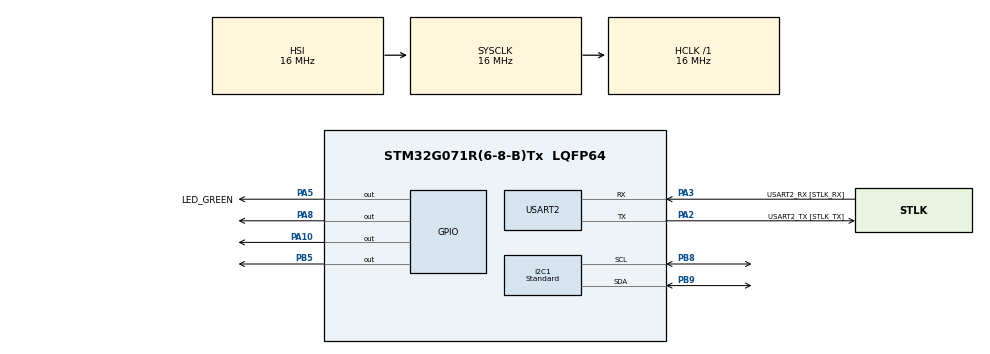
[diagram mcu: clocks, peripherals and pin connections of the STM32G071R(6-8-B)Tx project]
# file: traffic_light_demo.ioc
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I2C1.I2C_Fall_Time=0
I2C1.I2C_Rise_Time=0
I2C1.I2C_Speed_Mode=I2C_Standard
I2C1.OwnAddress=0x03
I2C1.Timing=0x00303D5B
Mcu.Family=STM32G0
Mcu.Name=STM32G071R(6-8-B)Tx
Mcu.Package=LQFP64
NVIC.I2C1_IRQn=true\:0\:0\:false\:false\:true\:true\:true\:true
NVIC.USART2_IRQn=true\:0\:0\:false\:false\:true\:true\:true\:true
PA10.Signal=GPIO_Output
PA13.GPIO_Label=TMS
PA13.Mode=Serial_Wire
PA13.Signal=SYS_SWDIO
PA14-BOOT0.GPIO_Label=TCK
PA14-BOOT0.Mode=Serial_Wire
PA14-BOOT0.Signal=SYS_SWCLK
PA2.GPIO_Label=USART2_TX [STLK_TX]
PA2.GPIO_PuPd=GPIO_PULLUP
PA2.Mode=Asynchronous
PA2.Signal=USART2_TX
PA3.GPIO_Label=USART2_RX [STLK_RX]
PA3.GPIO_PuPd=GPIO_PULLUP
PA3.Mode=Asynchronous
PA3.Signal=USART2_RX
PA5.GPIO_Label=LED_GREEN
PA5.GPIO_Speed=GPIO_SPEED_FREQ_HIGH
PA5.Signal=GPIO_Output
PA8.Signal=GPIO_Output
PB5.Signal=GPIO_Output
PB8.Mode=I2C
PB8.Signal=I2C1_SCL
PB9.Mode=I2C
PB9.Signal=I2C1_SDA
PC14-OSC32_IN\ (PC14).Mode=LSE-External-Oscillator
PC14-OSC32_IN\ (PC14).Signal=RCC_OSC32_IN
PC15-OSC32_OUT\ (PC15).Mode=LSE-External-Oscillator
PC15-OSC32_OUT\ (PC15).Signal=RCC_OSC32_OUT
PF0-OSC_IN\ (PF0).GPIO_Label=MCO
PF0-OSC_IN\ (PF0).Mode=HSE-External-Clock-Source
PF0-OSC_IN\ (PF0).Signal=RCC_OSC_IN
ProjectManager.HeapSize=0x200
ProjectManager.StackSize=0x400
ProjectManager.TargetToolchain=STM32CubeIDE
RCC.AHBFreq_Value=16000000
RCC.CortexFreq_Value=16000000
RCC.EXTERNAL_CLOCK_VALUE=12288000
RCC.HCLKFreq_Value=16000000
RCC.HSE_VALUE=8000000
RCC.HSI_VALUE=16000000
RCC.SYSCLKFreq_VALUE=16000000
RCC.VCOOutputFreq_Value=128000000
USART2.VirtualMode-Asynchronous=VM_ASYNC
board=NUCLEO-G071RB

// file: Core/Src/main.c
/* USER CODE BEGIN Header */
/**
  ******************************************************************************
  * @file           : main.c
  * @brief          : Main program body
  ******************************************************************************
  * @attention
  *
  * Copyright (c) 2024 STMicroelectronics.
  * All rights reserved.
  *
  * This software is licensed under terms that can be found in the LICENSE file
  * in the root directory of this software component.
  * If no LICENSE file comes with this software, it is provided AS-IS.
  *
  ******************************************************************************
  */
/* USER CODE END Header */
#include "main.h"

/* USER CODE BEGIN PTD */
typedef enum {
    RED, 	//D7
    GREEN, 	//D2
    YELLOW	//D4
} TrafficLightState;
TrafficLightState currentState = RED;
uint8_t interruptCount = 0;
/* USER CODE END PTD */

I2C_HandleTypeDef hi2c1;

UART_HandleTypeDef huart2;

void SystemClock_Config(void);
static void MX_GPIO_Init(void);
static void MX_USART2_UART_Init(void);
static void MX_I2C1_Init(void);
/* USER CODE BEGIN PFP */
void HAL_GPIO_EXTI_Callback(uint16_t GPIO_Pin);
void setTrafficLightState(TrafficLightState state);
void USART_Transmit(const char* str); // Declare the USART transmit function
/* USER CODE END PFP */

/* USER CODE BEGIN 0 */
unsigned char data[10];
static uint8_t previousData[6] = {0}; // Adjust size as needed

/* USER CODE END 0 */

int main(void)
{

  /* MCU Configuration--------------------------------------------------------*/

  /* Reset of all peripherals, Initializes the Flash interface and the Systick. */
  HAL_Init();

  /* Configure the system clock */
  SystemClock_Config();

  /* Initialize all configured peripherals */
  MX_GPIO_Init();
  MX_USART2_UART_Init();
  MX_I2C1_Init();
  /* USER CODE BEGIN 2 */
    setTrafficLightState(RED); // Start with red light
    HAL_I2C_EnableListen_IT(&hi2c1);
  /* USER CODE END 2 */

  /* Infinite loop */
  /* USER CODE BEGIN WHILE */
    while (1)
    {
        // Normal traffic light cycle
    	if (currentState == RED) {
		  HAL_GPIO_WritePin(GPIOA, GPIO_PIN_8, GPIO_PIN_SET);   // Red ON
		  HAL_GPIO_WritePin(GPIOA, GPIO_PIN_10, GPIO_PIN_RESET); // Green OFF
		  HAL_GPIO_WritePin(GPIOB, GPIO_PIN_5, GPIO_PIN_RESET);   // Yellow OFF
		  }
    	else if (currentState == GREEN) {
		  HAL_GPIO_WritePin(GPIOA, GPIO_PIN_10, GPIO_PIN_SET);   // Green ON
		  HAL_GPIO_WritePin(GPIOA, GPIO_PIN_8, GPIO_PIN_RESET);   // Red OFF
		  HAL_GPIO_WritePin(GPIOB, GPIO_PIN_5, GPIO_PIN_RESET);   // Yellow OFF
		  }
	  else if (currentState == YELLOW) {
		  HAL_GPIO_WritePin(GPIOB, GPIO_PIN_5, GPIO_PIN_SET);     // Yellow ON
		  HAL_GPIO_WritePin(GPIOA, GPIO_PIN_8, GPIO_PIN_RESET);   // Red OFF
		  HAL_GPIO_WritePin(GPIOA, GPIO_PIN_10, GPIO_PIN_RESET);   // Green OFF
		  HAL_Delay(3000); // Yellow light duration
		  setTrafficLightState(RED); // After yellow, go back to red
		 }
     }
    /* USER CODE END WHILE */

}

void SystemClock_Config(void)
{
  RCC_OscInitTypeDef RCC_OscInitStruct = {0};
  RCC_ClkInitTypeDef RCC_ClkInitStruct = {0};

  /** Configure the main internal regulator output voltage
  */
  HAL_PWREx_ControlVoltageScaling(PWR_REGULATOR_VOLTAGE_SCALE1);

  /** Initializes the RCC Oscillators according to the specified parameters
  * in the RCC_OscInitTypeDef structure.
  */
  RCC_OscInitStruct.OscillatorType = RCC_OSCILLATORTYPE_HSI;
  RCC_OscInitStruct.HSIState = RCC_HSI_ON;
  RCC_OscInitStruct.HSIDiv = RCC_HSI_DIV1;
  RCC_OscInitStruct.HSICalibrationValue = RCC_HSICALIBRATION_DEFAULT;
  RCC_OscInitStruct.PLL.PLLState = RCC_PLL_NONE;
  if (HAL_RCC_OscConfig(&RCC_OscInitStruct) != HAL_OK)
  {
    Error_Handler();
  }

  /** Initializes the CPU, AHB and APB buses clocks
  */
  RCC_ClkInitStruct.ClockType = RCC_CLOCKTYPE_HCLK|RCC_CLOCKTYPE_SYSCLK
                              |RCC_CLOCKTYPE_PCLK1;
  RCC_ClkInitStruct.SYSCLKSource = RCC_SYSCLKSOURCE_HSI;
  RCC_ClkInitStruct.AHBCLKDivider = RCC_SYSCLK_DIV1;
  RCC_ClkInitStruct.APB1CLKDivider = RCC_HCLK_DIV1;

  if (HAL_RCC_ClockConfig(&RCC_ClkInitStruct, FLASH_LATENCY_0) != HAL_OK)
  {
    Error_Handler();
  }
}

static void MX_I2C1_Init(void)
{

  hi2c1.Instance = I2C1;
  hi2c1.Init.Timing = 0x00503D58;
  hi2c1.Init.OwnAddress1 = 6;
  hi2c1.Init.AddressingMode = I2C_ADDRESSINGMODE_7BIT;
  hi2c1.Init.DualAddressMode = I2C_DUALADDRESS_DISABLE;
  hi2c1.Init.OwnAddress2 = 0;
  hi2c1.Init.OwnAddress2Masks = I2C_OA2_NOMASK;
  hi2c1.Init.GeneralCallMode = I2C_GENERALCALL_DISABLE;
  hi2c1.Init.NoStretchMode = I2C_NOSTRETCH_DISABLE;
  if (HAL_I2C_Init(&hi2c1) != HAL_OK)
  {
    Error_Handler();
  }

  /** Configure Analogue filter
  */
  if (HAL_I2CEx_ConfigAnalogFilter(&hi2c1, I2C_ANALOGFILTER_ENABLE) != HAL_OK)
  {
    Error_Handler();
  }

  /** Configure Digital filter
  */
  if (HAL_I2CEx_ConfigDigitalFilter(&hi2c1, 0) != HAL_OK)
  {
    Error_Handler();
  }

}

static void MX_USART2_UART_Init(void)
{

  huart2.Instance = USART2;
  huart2.Init.BaudRate = 115200;
  huart2.Init.WordLength = UART_WORDLENGTH_8B;
  huart2.Init.StopBits = UART_STOPBITS_1;
  huart2.Init.Parity = UART_PARITY_NONE;
  huart2.Init.Mode = UART_MODE_TX_RX;
  huart2.Init.HwFlowCtl = UART_HWCONTROL_NONE;
  huart2.Init.OverSampling = UART_OVERSAMPLING_16;
  huart2.Init.OneBitSampling = UART_ONE_BIT_SAMPLE_DISABLE;
  huart2.Init.ClockPrescaler = UART_PRESCALER_DIV1;
  huart2.AdvancedInit.AdvFeatureInit = UART_ADVFEATURE_NO_INIT;
  if (HAL_UART_Init(&huart2) != HAL_OK)
  {
    Error_Handler();
  }
  if (HAL_UARTEx_SetTxFifoThreshold(&huart2, UART_TXFIFO_THRESHOLD_1_8) != HAL_OK)
  {
    Error_Handler();
  }
  if (HAL_UARTEx_SetRxFifoThreshold(&huart2, UART_RXFIFO_THRESHOLD_1_8) != HAL_OK)
  {
    Error_Handler();
  }
  if (HAL_UARTEx_DisableFifoMode(&huart2) != HAL_OK)
  {
    Error_Handler();
  }

}

static void MX_GPIO_Init(void)
{
  GPIO_InitTypeDef GPIO_InitStruct = {0};

  /* GPIO Ports Clock Enable */
  __HAL_RCC_GPIOC_CLK_ENABLE();
  __HAL_RCC_GPIOF_CLK_ENABLE();
  __HAL_RCC_GPIOA_CLK_ENABLE();
  __HAL_RCC_GPIOB_CLK_ENABLE();

  /*Configure GPIO pin Output Level */
  HAL_GPIO_WritePin(GPIOA, LED_GREEN_Pin|GPIO_PIN_8|GPIO_PIN_10, GPIO_PIN_RESET);

  /*Configure GPIO pin Output Level */
  HAL_GPIO_WritePin(GPIOB, GPIO_PIN_5, GPIO_PIN_RESET);

  /*Configure GPIO pin : LED_GREEN_Pin */
  GPIO_InitStruct.Pin = LED_GREEN_Pin;
  GPIO_InitStruct.Mode = GPIO_MODE_OUTPUT_PP;
  GPIO_InitStruct.Pull = GPIO_NOPULL;
  GPIO_InitStruct.Speed = GPIO_SPEED_FREQ_HIGH;
  HAL_GPIO_Init(LED_GREEN_GPIO_Port, &GPIO_InitStruct);

  /*Configure GPIO pins : PA8 PA10 */
  GPIO_InitStruct.Pin = GPIO_PIN_8|GPIO_PIN_10;
  GPIO_InitStruct.Mode = GPIO_MODE_OUTPUT_PP;
  GPIO_InitStruct.Pull = GPIO_NOPULL;
  GPIO_InitStruct.Speed = GPIO_SPEED_FREQ_LOW;
  HAL_GPIO_Init(GPIOA, &GPIO_InitStruct);

  /*Configure GPIO pin : PB5 */
  GPIO_InitStruct.Pin = GPIO_PIN_5;
  GPIO_InitStruct.Mode = GPIO_MODE_OUTPUT_PP;
  GPIO_InitStruct.Pull = GPIO_NOPULL;
  GPIO_InitStruct.Speed = GPIO_SPEED_FREQ_LOW;
  HAL_GPIO_Init(GPIOB, &GPIO_InitStruct);

}

/* USER CODE BEGIN 4 */
void HAL_I2C_ListenCpltCallback (I2C_HandleTypeDef *hi2c) {
HAL_I2C_EnableListen_IT(hi2c);
}

extern void HAL_I2C_AddrCallback(I2C_HandleTypeDef *hi2c, uint8_t TransferDirection, uint16_t AddrMatchCode){
	if(TransferDirection == I2C_DIRECTION_TRANSMIT) // if the master wants to transmit the data
	{
		HAL_I2C_Slave_Sequential_Receive_IT(hi2c, data, 6, I2C_FIRST_AND_LAST_FRAME);
	} else {// master requesting the data is not supported yet
		Error_Handler();
	}
}

void HAL_I2C_SlaveRxCpltCallback(I2C_HandleTypeDef *hi2c) {
    if (hi2c == &hi2c1) {
    	if (memcmp(data, previousData, sizeof(previousData)) == 0) {
    	            // If the data is the same, do nothing
    		HAL_UART_Transmit_IT(&huart2, data, 6);
    		return;
    	}

    	        // Update the previous data with the current received data
    	memcpy(previousData, data, sizeof(previousData));
        // Check the received data to change the traffic light state
        if (data[1] == 'A') { // Assuming data[0] indicates GREEN
            setTrafficLightState(GREEN);
        } else if (data[1] == 'B') { // Assuming data[0] indicates YELLOW
            setTrafficLightState(YELLOW);
        } else {
            setTrafficLightState(RED); // Default case
        }
        HAL_UART_Transmit_IT(&huart2, data, 6); // Optionally transmit received data for debugging
    }
}

void HAL_I2C_ErrorCallback(I2C_HandleTypeDef *hi2c){
	HAL_I2C_EnableListen_IT(hi2c);
}

void setTrafficLightState(TrafficLightState state) {
    switch (state) {
        case RED:
            currentState = RED;
            break;
        case GREEN:
            currentState = GREEN;
            break;
        case YELLOW:
            currentState = YELLOW;
            break;
        default:
            break;
    }
}
/* USER CODE END 4 */

void Error_Handler(void)
{
    __disable_irq();
    while (1)
    {
    }
}
